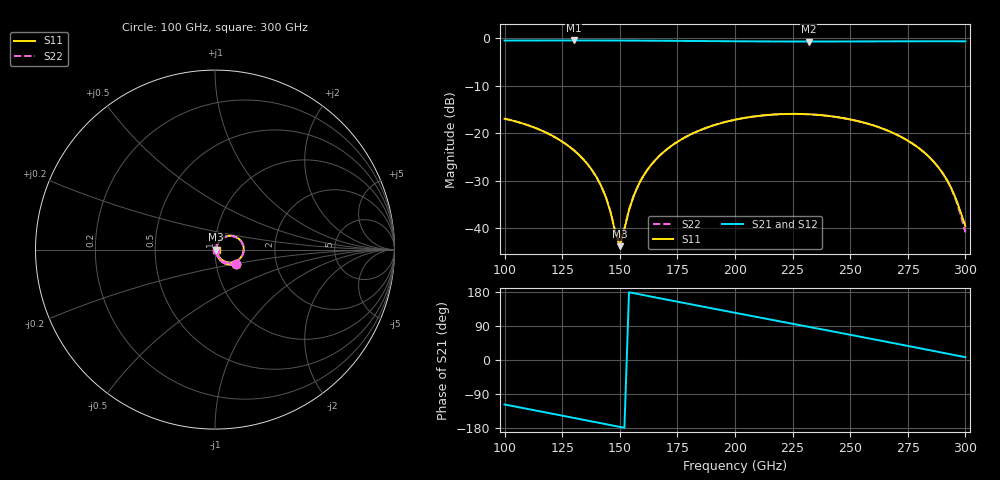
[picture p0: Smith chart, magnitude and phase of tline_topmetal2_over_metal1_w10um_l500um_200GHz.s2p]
#  GHZ S DB R 50
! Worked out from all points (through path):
!   101 points, 100 GHz to 300 GHz, reference 50 ohm
!   highest |S21| = -0.43 dB at 130 GHz (marker M1); lowest = -0.7 dB at 232 GHz (marker M2)
!   group delay of S21, straight-line fit = 3.26 ps
!   lowest |S11| = -43.8 dB at 150 GHz (marker M3), VSWR 1.01, Z = 50.6 + j0.0234 ohm
!   |S11| at or under -10 dB: start of sweep to end of sweep
!   |S22| runs from -43.3 to -15.9 dB; largest |S21 - S12| = 1.6e-13
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100  -16.93 -33.0  -0.45 -117.4  -0.45 -117.4  -16.93 -33.1
116  -19.41 -49.9  -0.44 -136.2  -0.44 -136.2  -19.41 -50.0
130  -23.55 -63.6  -0.43 -152.8  -0.43 -152.8  -23.55 -63.5
134  -25.40 -66.8  -0.43 -157.5  -0.43 -157.5  -25.39 -66.7
142  -31.20 -69.3  -0.44 -167.0  -0.44 -167.0  -31.18 -68.8
146  -36.67 -61.3  -0.44 -171.8  -0.44 -171.8  -36.58 -60.2
148  -40.86 -44.3  -0.44 -174.2  -0.44 -174.2  -40.60 -42.7
150  -43.80 2.1  -0.45 -176.5  -0.45 -176.5  -43.26 1.8
154  -36.22 58.9  -0.46 178.7  -0.46 178.7  -36.09 57.2
158  -30.98 65.8  -0.47 174.0  -0.47 174.0  -30.93 64.6
168  -24.39 61.5  -0.49 162.1  -0.49 162.1  -24.38 60.7
182  -19.96 48.1  -0.54 145.6  -0.54 145.6  -19.95 47.4
200  -17.15 29.0  -0.60 124.6  -0.60 124.6  -17.14 28.3
216  -16.08 11.6  -0.64 106.0  -0.64 106.0  -16.07 10.9
232  -16.00 -5.8  -0.65 87.5  -0.65 87.5  -15.99 -6.6
234  -16.06 -8.0  -0.65 85.2  -0.65 85.2  -16.05 -8.8
250  -17.08 -25.3  -0.64 66.5  -0.64 66.5  -17.07 -26.3
268  -19.80 -44.1  -0.62 45.4  -0.62 45.4  -19.79 -45.5
280  -23.21 -55.2  -0.61 31.2  -0.61 31.2  -23.20 -57.1
288  -26.99 -60.0  -0.60 21.7  -0.60 21.7  -27.02 -62.7
294  -31.69 -57.8  -0.61 14.5  -0.61 14.5  -31.81 -62.1
300  -39.60 -21.4  -0.61 7.4  -0.61 7.4  -40.87 -27.8
